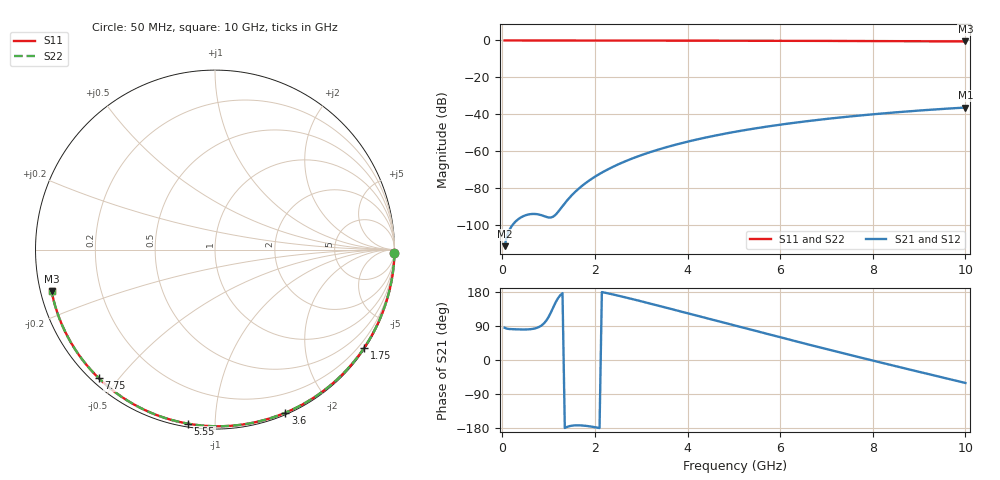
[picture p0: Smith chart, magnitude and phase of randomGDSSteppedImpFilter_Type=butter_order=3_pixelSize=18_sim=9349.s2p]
! freq	dB(S11)	phase(S11)	dB(S12)	phase(S12)
!  dB(S21)	phase(S21)	dB(S22)	phase(S22)
!S-par simulation data
#  GHz  S  DB  R 50
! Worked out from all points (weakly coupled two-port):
!   200 points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, 50 MHz to 10 GHz, reference 50 ohm
!   highest |S21| = -36.38 dB at 10 GHz (marker M1); lowest = -111.6 dB at 50 MHz (marker M2)
!   lowest |S11| = -0.5 dB at 10 GHz (marker M3), VSWR 32.18, Z = 1.58 - j6.25 ohm
!   |S11| at or under -10 dB: nowhere
!   |S22| runs from -0.5 to 0.0 dB; largest |S21 - S12| = 0
!   S11 on the Smith chart (normalised r, x): 50 MHz: open; 1.75 GHz: 0.03, -3.33; 3.6 GHz: 0.02, -1.52; 5.55 GHz: 0.02, -0.86; 7.75 GHz: 0.02, -0.44; 10 GHz: 0.03, -0.12
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0.05  -0.00 -1.0  -111.58 85.1  -111.58 85.1  -0.00 -1.0
0.45  -0.01 -8.7  -95.35 80.5  -95.35 80.5  -0.01 -8.7
0.85  -0.02 -16.4  -94.81 91.4  -94.81 91.4  -0.02 -16.4
1.65  -0.04 -31.5  -80.38 -172.4  -80.38 -172.4  -0.04 -31.5
1.7  -0.04 -32.5  -79.32 -172.6  -79.32 -172.6  -0.04 -32.5
1.75  -0.04 -33.4  -78.31 -173.1  -78.31 -173.1  -0.04 -33.4
1.9  -0.05 -36.2  -75.55 -175.3  -75.55 -175.3  -0.05 -36.2
2.05  -0.05 -38.9  -73.14 -178.4  -73.14 -178.4  -0.05 -38.9
2.25  -0.05 -42.6  -70.30 176.7  -70.30 176.7  -0.05 -42.6
2.45  -0.06 -46.3  -67.82 171.3  -67.82 171.3  -0.06 -46.3
2.9  -0.07 -54.4  -63.13 158.0  -63.13 158.0  -0.07 -54.4
3.4  -0.08 -63.2  -58.95 142.4  -58.95 142.4  -0.08 -63.2
3.6  -0.09 -66.6  -57.50 136.1  -57.50 136.1  -0.09 -66.6
4.3  -0.11 -78.5  -53.16 113.7  -53.16 113.7  -0.11 -78.5
5.05  -0.14 -90.8  -49.44 89.8  -49.44 89.8  -0.14 -90.8
5.55  -0.16 -98.8  -47.35 74.0  -47.35 74.0  -0.16 -98.8
6.1  -0.19 -107.3  -45.34 56.7  -45.34 56.7  -0.19 -107.3
6.7  -0.23 -116.5  -43.43 38.1  -43.43 38.1  -0.23 -116.5
7.75  -0.30 -132.2  -40.63 6.0  -40.63 6.0  -0.30 -132.2
8.35  -0.36 -141.1  -39.30 -12.0  -39.30 -12.0  -0.36 -141.1
9.2  -0.44 -153.7  -37.66 -37.1  -37.66 -37.1  -0.45 -153.7
10  -0.54 -165.7  -36.38 -60.6  -36.38 -60.6  -0.54 -165.8
